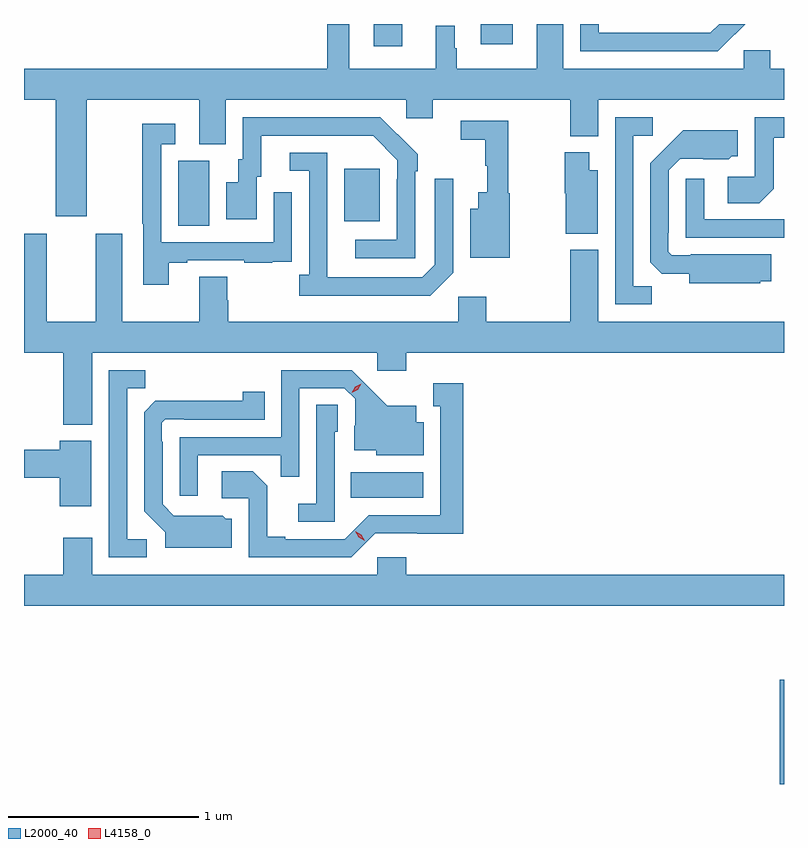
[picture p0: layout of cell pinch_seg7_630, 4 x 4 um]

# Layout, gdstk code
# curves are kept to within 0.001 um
import gdstk
lib = gdstk.Library(unit=1e-6, precision=1e-09)
def R(c, l, rs):  # rectangles x0, y0, x1, y1
    for r in rs: c.add(gdstk.rectangle(r[:2], r[2:], *l))
def P(c, l, *ps):  # polygons
    for p in ps: c.add(gdstk.Polygon(p, *l))
L2000_40 = (2000, 40)
L4158_0 = (4158, 0)

pinch_seg7_630 = lib.new_cell('pinch_seg7_630')
R(pinch_seg7_630, L2000_40, [(128.525,1007.671,128.548,1008.22), (126.268,1009.178,126.649,1009.312), (125.36,1010.608,125.524,1010.952), (126.233,1010.633,126.421,1010.908), (126.389,1011.554,126.538,1011.671)])
P(pinch_seg7_630, L2000_40, [(124.879,1011.272),(125.471,1011.272),(125.471,1011.037),(125.611,1011.037),(125.611,1011.272),(126.561,1011.272),(126.561,1011.174),(126.7,1011.174),(126.7,1011.272),(127.423,1011.272),(127.423,1011.08),(127.57,1011.08),(127.57,1011.272),(128.548,1011.272),(128.548,1011.436),(128.476,1011.436),(128.476,1011.534),(128.337,1011.534),(128.337,1011.436),(127.387,1011.436),(127.387,1011.671),(127.247,1011.671),(127.247,1011.436),(126.826,1011.436),(126.826,1011.543),(126.814,1011.543),(126.814,1011.661),(126.716,1011.661),(126.716,1011.436),(126.261,1011.436),(126.261,1011.67),(126.145,1011.67),(126.145,1011.436),(124.548,1011.436),(124.548,1011.272),(124.715,1011.272),(124.715,1010.658),(124.879,1010.658)],
  [(128.291,1011.619),(128.292,1011.618),(128.345,1011.671),(128.207,1011.671),(128.161,1011.625),(128.057,1011.625),(128.057,1011.624),(127.573,1011.624),(127.573,1011.671),(127.476,1011.671),(127.476,1011.528),(128.2,1011.528)],
  [(127.12,1011.669),(127.047,1011.669),(127.047,1011.671),(126.951,1011.671),(126.951,1011.564),(127.12,1011.564)],
  [(126.606,1010.897),(126.621,1010.897),(126.621,1010.985),(126.424,1011.18),(125.7,1011.18),(125.7,1010.958),(125.675,1010.958),(125.675,1010.839),(125.612,1010.839),(125.612,1010.643),(125.773,1010.643),(125.773,1010.868),(125.797,1010.868),(125.797,1011.084),(126.385,1011.084),(126.513,1010.955),(126.513,1010.855),(126.51,1010.855),(126.51,1010.535),(126.291,1010.535),(126.291,1010.439),(126.606,1010.439)],
  [(127.851,1010.291),(127.755,1010.291),(127.755,1011.084),(127.858,1011.084),(127.858,1011.18),(127.659,1011.18),(127.659,1010.196),(127.851,1010.196)],
  [(128.493,1010.804),(128.493,1011.072),(128.548,1011.072),(128.548,1011.18),(128.394,1011.18),(128.394,1010.868),(128.253,1010.868),(128.253,1010.728),(128.417,1010.728)],
  [(127.104,1010.781),(127.096,1010.781),(127.096,1011.162),(126.846,1011.162),(126.846,1011.061),(126.975,1011.061),(126.975,1010.925),(126.986,1010.925),(126.986,1010.785),(126.938,1010.785),(126.938,1010.698),(126.896,1010.698),(126.896,1010.441),(127.104,1010.441)],
  [(125.311,1010.415),(125.407,1010.415),(125.407,1010.427),(125.707,1010.427),(125.707,1010.415),(125.855,1010.415),(125.855,1010.421),(125.957,1010.421),(125.957,1010.53),(125.958,1010.53),(125.958,1010.785),(125.862,1010.785),(125.862,1010.523),(125.271,1010.523),(125.271,1011.039),(125.344,1011.039),(125.344,1011.145),(125.17,1011.145),(125.17,1010.62),(125.175,1010.62),(125.175,1010.298),(125.311,1010.298)],
  [(128.424,1010.318),(128.48,1010.318),(128.48,1010.458),(128.056,1010.458),(128.056,1010.454),(127.956,1010.454),(127.938,1010.472),(127.938,1010.572),(127.941,1010.572),(127.941,1010.901),(128.001,1010.961),(128.258,1010.96),(128.274,1010.976),(128.305,1010.976),(128.305,1011.112),(128.017,1011.112),(127.845,1010.938),(127.845,1010.416),(127.904,1010.357),(128.048,1010.357),(128.048,1010.306),(128.424,1010.306)],
  [(127.567,1010.902),(127.522,1010.902),(127.522,1010.995),(127.393,1010.995),(127.393,1010.781),(127.4,1010.781),(127.4,1010.567),(127.567,1010.567)],
  [(126.807,1010.361),(126.807,1010.857),(126.711,1010.857),(126.711,1010.403),(126.645,1010.337),(126.145,1010.337),(126.144,1010.994),(125.946,1010.994),(125.946,1010.898),(126.048,1010.898),(126.048,1010.35),(125.997,1010.35),(125.997,1010.24),(126.686,1010.24)],
  [(128.548,1010.643),(128.127,1010.643),(128.127,1010.857),(128.031,1010.857),(128.031,1010.547),(128.548,1010.547)],
  [(124.906,1009.94),(126.408,1009.94),(126.408,1009.845),(126.56,1009.845),(126.56,1009.94),(128.548,1009.94),(128.548,1010.104),(127.57,1010.104),(127.57,1010.482),(127.423,1010.482),(127.423,1010.104),(126.981,1010.104),(126.981,1010.236),(126.834,1010.236),(126.834,1010.104),(125.624,1010.104),(125.624,1010.217),(125.619,1010.217),(125.619,1010.342),(125.471,1010.342),(125.471,1010.104),(125.065,1010.104),(125.065,1010.566),(124.925,1010.566),(124.925,1010.104),(124.669,1010.104),(124.669,1010.566),(124.548,1010.566),(124.548,1009.94),(124.754,1009.94),(124.754,1009.562),(124.906,1009.562)],
  [(125.463,1009.401),(125.899,1009.401),(125.899,1009.288),(125.997,1009.288),(125.997,1009.755),(126.234,1009.755),(126.291,1009.698),(126.291,1009.556),(126.287,1009.556),(126.287,1009.427),(126.402,1009.427),(126.402,1009.4),(126.652,1009.4),(126.652,1009.576),(126.613,1009.576),(126.613,1009.663),(126.461,1009.663),(126.274,1009.848),(125.901,1009.848),(125.901,1009.497),(125.367,1009.497),(125.367,1009.188),(125.463,1009.188)],
  [(125.194,1008.96),(125.091,1008.96),(125.091,1009.753),(125.187,1009.753),(125.187,1009.848),(124.995,1009.848),(124.995,1008.864),(125.194,1008.864)],
  [(126.396,1008.99),(126.859,1008.989),(126.859,1009.78),(126.701,1009.78),(126.701,1009.659),(126.74,1009.659),(126.74,1009.086),(126.363,1009.086),(126.237,1008.96),(125.923,1008.96),(125.923,1008.973),(125.829,1008.973),(125.829,1009.24),(125.753,1009.316),(125.589,1009.316),(125.589,1009.176),(125.73,1009.176),(125.73,1008.864),(126.27,1008.864)],
  [(125.641,1009.068),(125.61,1009.068),(125.594,1009.084),(125.337,1009.083),(125.277,1009.143),(125.277,1009.472),(125.274,1009.472),(125.274,1009.572),(125.292,1009.59),(125.392,1009.59),(125.392,1009.587),(125.816,1009.587),(125.816,1009.735),(125.698,1009.735),(125.698,1009.688),(125.24,1009.687),(125.181,1009.628),(125.181,1009.106),(125.291,1008.996),(125.291,1008.914),(125.641,1008.914)],
  [(126.183,1009.524),(126.198,1009.524),(126.198,1009.667),(126.087,1009.667),(126.087,1009.147),(125.991,1009.147),(125.991,1009.05),(126.183,1009.05)],
  [(124.903,1009.477),(124.736,1009.477),(124.736,1009.43),(124.548,1009.43),(124.548,1009.283),(124.736,1009.283),(124.736,1009.134),(124.903,1009.134)],
  [(128.548,1008.772),(126.56,1008.772),(126.56,1008.865),(126.408,1008.865),(126.408,1008.772),(124.906,1008.772),(124.906,1008.967),(124.754,1008.967),(124.754,1008.772),(124.548,1008.772),(124.548,1008.608),(128.548,1008.608)])
P(pinch_seg7_630, L4158_0, [(126.342,1008.95),(126.31,1008.969),(126.292,1009.002),(126.292,1009.002),(126.292,1009.002),(126.324,1008.983),(126.342,1008.951),(126.342,1008.95)],
  [(126.274,1009.731),(126.274,1009.731),(126.291,1009.761),(126.322,1009.777),(126.322,1009.777),(126.322,1009.777),(126.305,1009.747),(126.274,1009.731)])

lib.write_gds('pinch_seg7_630.gds')
